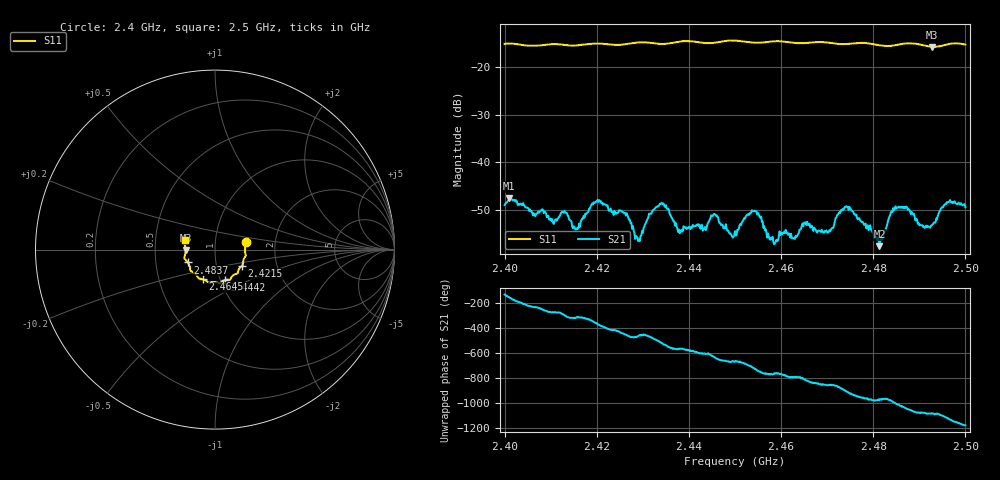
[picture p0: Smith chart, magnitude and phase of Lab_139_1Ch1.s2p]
# Hz S RI R 50
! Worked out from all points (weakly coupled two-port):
!   601 points, 2.4 GHz to 2.5 GHz, reference 50 ohm
!   highest |S21| = -47.64 dB at 2.401 GHz (marker M1); lowest = -57.7 dB at 2.4813 GHz (marker M2)
!   lowest |S11| = -15.7 dB at 2.4928 GHz (marker M3), VSWR 1.39, Z = 35.9 - j0.367 ohm
!   |S11| at or under -10 dB: start of sweep to end of sweep
!   S12 and S22 are empty: the file has one direction only
!   S11 on the Smith chart (normalised r, x): 2.4 GHz: 1.41, +0.12; 2.4215 GHz: 1.33, -0.25; 2.4442 GHz: 1.05, -0.37; 2.4645 GHz: 0.83, -0.29; 2.4837 GHz: 0.73, -0.11; 2.5 GHz: 0.71, +0.07
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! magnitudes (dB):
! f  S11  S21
! 2.4 GHz  -15.1  -49.0
! 2.401 GHz  -15.0  -47.6
! 2.4167 GHz  -15.3  -52.2
! 2.4215 GHz  -15.1  -48.7
! 2.4262 GHz  -15.2  -50.7
! 2.4288 GHz  -14.8  -55.9
! 2.4333 GHz  -15.1  -49.3
! 2.4382 GHz  -14.6  -54.8
! 2.4442 GHz  -15.0  -52.7
! 2.45 GHz  -14.4  -54.5
! 2.4542 GHz  -14.9  -50.2
! 2.4588 GHz  -14.5  -56.7
! 2.4645 GHz  -15.0  -53.4
! 2.4667 GHz  -14.8  -53.4
! 2.4705 GHz  -14.9  -54.3
! 2.4743 GHz  -15.1  -49.4
! 2.4813 GHz  -15.4  -57.7
! 2.4833 GHz  -15.5  -52.0
! 2.4837 GHz  -15.5  -51.2
! 2.4928 GHz  -15.7  -53.2
! 2.4962 GHz  -15.2  -48.5
! 2.5 GHz  -15.2  -49.5
